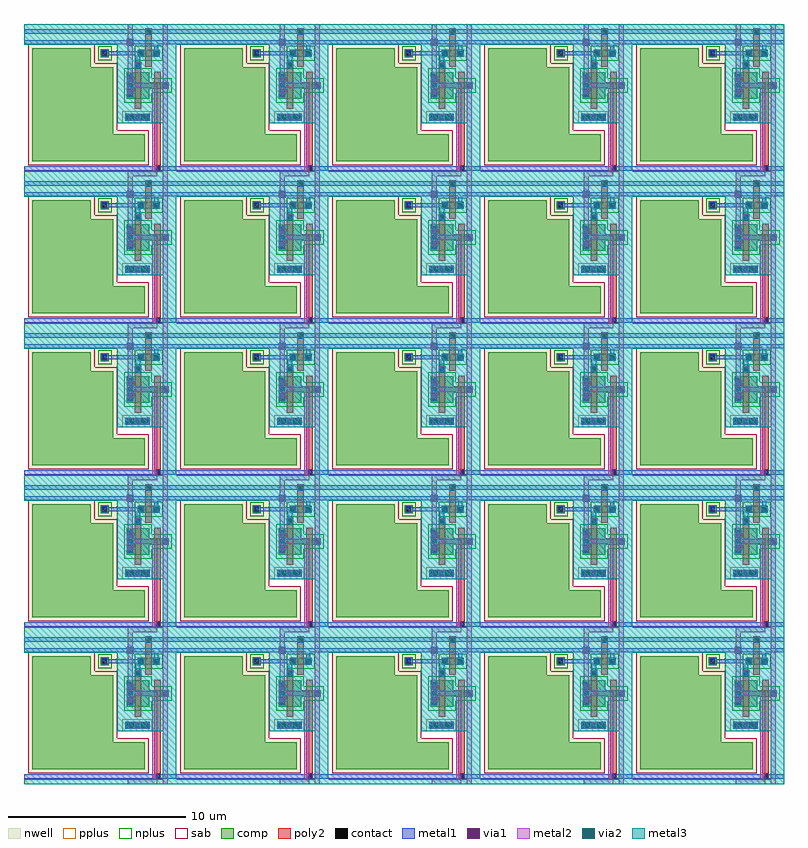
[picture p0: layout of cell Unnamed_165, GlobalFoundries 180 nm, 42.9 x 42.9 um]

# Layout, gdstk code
from math import pi, radians
import gdstk
lib = gdstk.Library(unit=1e-6, precision=5e-09)
def R(c, l, rs):  # rectangles x0, y0, x1, y1
    for r in rs: c.add(gdstk.rectangle(r[:2], r[2:], *l))
def A(c, l, x, y, w, h, nx, ny, dx, dy):  # array of equal rectangles
    R(c, l, [(x+i*dx, y+j*dy, x+i*dx+w, y+j*dy+h) for i in range(nx) for j in range(ny)])
def P(c, l, *ps):  # polygons
    for p in ps: c.add(gdstk.Polygon(p, *l))
nwell = (21, 0)
comp = (22, 0)
poly2 = (30, 0)
pplus = (31, 0)
nplus = (32, 0)
contact = (33, 0)
metal1 = (34, 0)
via1 = (35, 0)
metal2 = (36, 0)
via2 = (38, 0)
metal3 = (42, 0)
sab = (49, 0)

unnamed_149 = lib.new_cell('Unnamed_149')

unnamed_140 = lib.new_cell('Unnamed_140')
P(unnamed_140, sab, [(0,-1.815),(0,5),(3.74,5),(3.74,3.93),(5,3.93),(5,0.145),(6.8,0.145),(6.8,-1.815)])

rectangle_gdsfactorypcom = lib.new_cell('rectangle_gdsfactorypcomponentspshapesprectangle_S0p45__e99fa449')

unnamed_133 = lib.new_cell('Unnamed_133')
unnamed_133.add(gdstk.Reference(rectangle_gdsfactorypcom, (4.09,4.28)))

c_rectangle_gdsfactorypcom = lib.new_cell('rectangle_gdsfactorypcomponentspshapesprectangle_S6p795_b4fe4650')

c_rectangle_gdsfactorypcom_ = lib.new_cell('rectangle_gdsfactorypcomponentspshapesprectangle_S0p28__a85e72dc')
R(c_rectangle_gdsfactorypcom_, metal2, [(0,0,0.28,0.28)])

unnamed_132 = lib.new_cell('Unnamed_132')
A(unnamed_132, contact, 5.54, 0.785, 0.22, 0.22, 3, 1, 0.5, 0)
A(unnamed_132, contact, 5.635, 2.08, 0.22, 0.22, 1, 3, 0, 0.5)
R(unnamed_132, contact, [(7.185,-2.105,7.405,-1.885), (7.625,2.58,7.845,2.8), (6.075,3.73,6.295,3.95), (4.205,4.395,4.425,4.615), (6.235,4.395,6.455,4.615), (7.115,4.395,7.335,4.615), (6.675,5.615,6.895,5.835)])

c_rectangle_gdsfactorypcom__ = lib.new_cell('rectangle_gdsfactorypcomponentspshapesprectangle_S0p28__d1f8f1a6')
R(c_rectangle_gdsfactorypcom__, metal2, [(0,0,0.28,0.28)])

c_rectangle_gdsfactorypcom___ = lib.new_cell('rectangle_gdsfactorypcomponentspshapesprectangle_S0p28__9ac183a0')
R(c_rectangle_gdsfactorypcom___, metal2, [(0,0,0.28,0.28)])

c_rectangle_gdsfactorypcom____ = lib.new_cell('rectangle_gdsfactorypcomponentspshapesprectangle_S0p28__faefb277')
R(c_rectangle_gdsfactorypcom____, metal2, [(0,0,0.28,0.28)])

c_rectangle_gdsfactorypcom_____ = lib.new_cell('rectangle_gdsfactorypcomponentspshapesprectangle_S0p77__680ec764')
R(c_rectangle_gdsfactorypcom_____, nplus, [(0,0,0.77,0.77)])

c_rectangle_gdsfactorypcom______ = lib.new_cell('rectangle_gdsfactorypcomponentspshapesprectangle_S0p339_cd6cde29')
R(c_rectangle_gdsfactorypcom______, metal1, [(0,0,0.34,0.34)])

c_rectangle_gdsfactorypcom_______ = lib.new_cell('rectangle_gdsfactorypcomponentspshapesprectangle_S0p22__bfea7709')

via_generator_xr0_0p36_y = lib.new_cell('via_generator_XR0_0p36_YR0_0p36_VS0p22_0p22_VLcontact_V_b31f4566')
via_generator_xr0_0p36_y.add(gdstk.Reference(c_rectangle_gdsfactorypcom_______, (0.07,0.07)))

via_stack_xr0_0p36_yr0_0 = lib.new_cell('via_stack_XR0_0p36_YR0_0p36_ML1_CS0p22_0p22_CE0p07_ME0p_7e0b3caa')
via_stack_xr0_0p36_yr0_0.add(gdstk.Reference(c_rectangle_gdsfactorypcom______, (0.01,0.01)))
via_stack_xr0_0p36_yr0_0.add(gdstk.Reference(via_generator_xr0_0p36_y, (0,0)))

nwell_psub_photodiode_w5 = lib.new_cell('nwell_psub_photodiode_W5_NCDFTON0p11_NCAOFL0p2$1')
nwell_psub_photodiode_w5.add(gdstk.Reference(c_rectangle_gdsfactorypcom_____, (3.93,4.12)))
nwell_psub_photodiode_w5.add(gdstk.Reference(via_stack_xr0_0p36_yr0_0, (4.135,4.325)))

unnamed_150 = lib.new_cell('Unnamed_150')
R(unnamed_150, comp, [(5.465,0.71,6.835,1.08), (4.09,4.28,4.54,4.73), (6.16,4.32,7.41,4.69)])
P(unnamed_150, comp, [(0.22,-1.595),(0.22,4.775),(3.52,4.775),(3.52,3.71),(4.78,3.71),(4.78,-0.075),(6.57,-0.075),(6.57,-1.595)],
  [(5.56,1.94),(5.56,3.44),(6.81,3.44),(6.81,2.875),(7.92,2.875),(7.92,2.505),(6.81,2.505),(6.81,1.94)])

c_rectangle_gdsfactorypcom________ = lib.new_cell('rectangle_gdsfactorypcomponentspshapesprectangle_S2p425_1f331aac')

c_rectangle_gdsfactorypcom_________ = lib.new_cell('rectangle_gdsfactorypcomponentspshapesprectangle_S0p26__7b184afd')
R(c_rectangle_gdsfactorypcom_________, via2, [(0,0,0.26,0.26)])

via_generator_xr5p399999 = lib.new_cell('via_generator_XR5p3999999999999995_6p9_YR0p695000000000_0310d9f9')
r = gdstk.Reference(c_rectangle_gdsfactorypcom_________, (5.71,0.765)); r.repetition = gdstk.Repetition(2, 1, v1=(0.62,0), v2=(0,0)); via_generator_xr5p399999.add(r)

c_rectangle_gdsfactorypcom__________ = lib.new_cell('rectangle_gdsfactorypcomponentspshapesprectangle_S0p999_37d89e3a')
R(c_rectangle_gdsfactorypcom__________, metal2, [(0,0,1,0.38)])

c_rectangle_gdsfactorypcom___________ = lib.new_cell('rectangle_gdsfactorypcomponentspshapesprectangle_S0p26__ec28a1d9')
R(c_rectangle_gdsfactorypcom___________, via1, [(0,0,0.26,0.26)])

via_generator_xr5p46_6p8 = lib.new_cell('via_generator_XR5p46_6p84_YR0p8250000000000001_1p205_VS_eda12c5f')
r = gdstk.Reference(c_rectangle_gdsfactorypcom___________, (5.71,0.885)); r.repetition = gdstk.Repetition(2, 1, v1=(0.62,0), v2=(0,0)); via_generator_xr5p46_6p8.add(r)

c_rectangle_gdsfactorypcom____________ = lib.new_cell('rectangle_gdsfactorypcomponentspshapesprectangle_S1p379_3935631d')
R(c_rectangle_gdsfactorypcom____________, metal1, [(0,0,1.38,0.38)])

c_via_generator_xr5p399999 = lib.new_cell('via_generator_XR5p3999999999999995_6p9_YR0p815000000000_59159aae')
r = gdstk.Reference(c_rectangle_gdsfactorypcom_______, (5.54,0.905)); r.repetition = gdstk.Repetition(3, 1, v1=(0.5,0), v2=(0,0)); c_via_generator_xr5p399999.add(r)

via_stack_xr5p3999999999 = lib.new_cell('via_stack_XR5p3999999999999995_6p9_YR0p8150000000000001_85f95218')
via_stack_xr5p3999999999.add(gdstk.Reference(c_rectangle_gdsfactorypcom__________, (5.65,0.825)))
via_stack_xr5p3999999999.add(gdstk.Reference(via_generator_xr5p46_6p8, (0,0)))
via_stack_xr5p3999999999.add(gdstk.Reference(c_rectangle_gdsfactorypcom____________, (5.46,0.825)))
via_stack_xr5p3999999999.add(gdstk.Reference(c_via_generator_xr5p399999, (0,0)))

c_rectangle_gdsfactorypcom_____________ = lib.new_cell('rectangle_gdsfactorypcomponentspshapesprectangle_S1p37__3ba85179')

c_rectangle_gdsfactorypcom______________ = lib.new_cell('rectangle_gdsfactorypcomponentspshapesprectangle_S1p69__2c6959d6')
R(c_rectangle_gdsfactorypcom______________, pplus, [(0,0,1.69,0.69)])

body_contact_sfssource_f = lib.new_cell('body_contact_SFSsource_follower_nfet')
body_contact_sfssource_f.add(gdstk.Reference(via_generator_xr5p399999, (0,0)))
body_contact_sfssource_f.add(gdstk.Reference(via_stack_xr5p3999999999, (0,-0.12)))
body_contact_sfssource_f.add(gdstk.Reference(c_rectangle_gdsfactorypcom_____________, (5.465,0.71)))
body_contact_sfssource_f.add(gdstk.Reference(c_rectangle_gdsfactorypcom______________, (5.305,0.55)))

via_generator_xr0_0p22_y = lib.new_cell('via_generator_XR0_0p22_YR0_0p22_VS0p22_0p22_VLcontact_V_890d8fa1')
via_generator_xr0_0p22_y.add(gdstk.Reference(c_rectangle_gdsfactorypcom_______, (0,0)))

via_stack_xr0_0p22_yr0_0 = lib.new_cell('via_stack_XR0_0p22_YR0_0p22_ML1_CS0p22_0p22_CE0p07_ME0p_3bb45117')
via_stack_xr0_0p22_yr0_0.add(gdstk.Reference(c_rectangle_gdsfactorypcom______, (-0.06,-0.06)))
via_stack_xr0_0p22_yr0_0.add(gdstk.Reference(via_generator_xr0_0p22_y, (0,0)))

c_rectangle_gdsfactorypcom_______________ = lib.new_cell('rectangle_gdsfactorypcomponentspshapesprectangle_S0p34__e9d97d68')
R(c_rectangle_gdsfactorypcom_______________, metal1, [(0,0,0.34,0.34)])

nfet_deep_nwell_d0_p0_is = lib.new_cell('nfet_deep_nwell_D0_P0_IS1p57_1p18_IXm0p53_IYm0p58_G0p22')

c_rectangle_gdsfactorypcom________________ = lib.new_cell('rectangle_gdsfactorypcomponentspshapesprectangle_S1p57__59d8ef3a')
R(c_rectangle_gdsfactorypcom________________, nplus, [(0,0,1.57,0.83)])

c_rectangle_gdsfactorypcom_________________ = lib.new_cell('rectangle_gdsfactorypcomponentspshapesprectangle_S0p339_f4050e4b')
R(c_rectangle_gdsfactorypcom_________________, poly2, [(0,0,0.34,0.34)])

c_via_stack_xr0_0p36_yr0_0 = lib.new_cell('via_stack_XR0_0p36_YR0_0p36_ML1_CS0p22_0p22_CE0p07_ME0p_3c6a0a25')
c_via_stack_xr0_0p36_yr0_0.add(gdstk.Reference(c_rectangle_gdsfactorypcom_________________, (0.01,0.01)))
c_via_stack_xr0_0p36_yr0_0.add(gdstk.Reference(via_generator_xr0_0p36_y, (0,0)))

c_rectangle_gdsfactorypcom__________________ = lib.new_cell('rectangle_gdsfactorypcomponentspshapesprectangle_S0p360_c50b099a')
R(c_rectangle_gdsfactorypcom__________________, poly2, [(0,0,0.36,0.36)])

unnamed_27 = lib.new_cell('Unnamed_27')
unnamed_27.add(gdstk.Reference(c_via_stack_xr0_0p36_yr0_0, (0,0)))
unnamed_27.add(gdstk.Reference(c_rectangle_gdsfactorypcom__________________, (0,0)))

c_rectangle_gdsfactorypcom___________________ = lib.new_cell('rectangle_gdsfactorypcomponentspshapesprectangle_S0p36__61a6a4da')
R(c_rectangle_gdsfactorypcom___________________, poly2, [(0,0,0.36,0.81)])

c_rectangle_gdsfactorypcom____________________ = lib.new_cell('rectangle_gdsfactorypcomponentspshapesprectangle_S0p339_7cf635e5')

via_generator_xrm0p37_0_ = lib.new_cell('via_generator_XRm0p37_0_YR0_0p37_VS0p22_0p22_VLcontact__7fa67794')
via_generator_xrm0p37_0_.add(gdstk.Reference(c_rectangle_gdsfactorypcom_______, (-0.295,0.075)))

via_stack_xrm0p37_0_yr0_ = lib.new_cell('via_stack_XRm0p37_0_YR0_0p37_ML1_CS0p22_0p22_CE0p07_ME0_8a4298dd')
via_stack_xrm0p37_0_yr0_.add(gdstk.Reference(c_rectangle_gdsfactorypcom____________________, (-0.355,0.015)))
via_stack_xrm0p37_0_yr0_.add(gdstk.Reference(via_generator_xrm0p37_0_, (0,0)))

c_rectangle_gdsfactorypcom_____________________ = lib.new_cell('rectangle_gdsfactorypcomponentspshapesprectangle_S0p37__0f04a47c')

c_rectangle_gdsfactorypcom______________________ = lib.new_cell('rectangle_gdsfactorypcomponentspshapesprectangle_S0p51__6ac2f021')

unnamed_16 = lib.new_cell('Unnamed_16')
unnamed_16.add(gdstk.Reference(c_rectangle_gdsfactorypcom________________, (-0.53,-0.23)))
unnamed_16.add(gdstk.Reference(unnamed_27, (0.075,-0.58)))
unnamed_16.add(gdstk.Reference(c_rectangle_gdsfactorypcom___________________, (0.075,-0.22)))
unnamed_16.add(gdstk.Reference(via_stack_xrm0p37_0_yr0_, (0,0)))
unnamed_16.add(gdstk.Reference(via_stack_xrm0p37_0_yr0_, (0.88,0)))
r = gdstk.Reference(c_rectangle_gdsfactorypcom_____________________, (-0.37,0)); r.repetition = gdstk.Repetition(2, 1, v1=(0.88,0), v2=(0,0)); unnamed_16.add(r)
unnamed_16.add(gdstk.Reference(c_rectangle_gdsfactorypcom______________________, (0,0)))

labels_gen_lsnone_p0p255 = lib.new_cell('labels_gen_LSNone_P0p255_m0p39999999999999997_Lmetal1_l_75f557be')
labels_gen_lsnone_p0p255.add(gdstk.Label('gate', (0.255,-0.4), layer=34, texttype=10))

labels_gen_lsnone_p0p695 = lib.new_cell('labels_gen_LSNone_P0p6950000000000001_0p185_Lmetal1_lab_a4e48e06')
labels_gen_lsnone_p0p695.add(gdstk.Label('D', (0.695,0.185), layer=34, texttype=10))

labels_gen_lsnone_pm0p18 = lib.new_cell('labels_gen_LSNone_Pm0p185_0p185_Lmetal1_label_LTrue_LS_D_LVL2_I0')
labels_gen_lsnone_pm0p18.add(gdstk.Label('S', (-0.185,0.185), layer=34, texttype=10))

nfet_lg0p36_wg0p37_scc1_ = lib.new_cell('nfet_LG0p36_WG0p37_SCC1_ISL0p24_N1_G0p22_V3p3V_BNone_CB_264c81f5$1')
nfet_lg0p36_wg0p37_scc1_.add(gdstk.Reference(c_rectangle_gdsfactorypcom_______________, (-0.355,0.015)))
nfet_lg0p36_wg0p37_scc1_.add(gdstk.Reference(nfet_deep_nwell_d0_p0_is, (0,0)))
nfet_lg0p36_wg0p37_scc1_.add(gdstk.Reference(unnamed_16, (0,0)))
nfet_lg0p36_wg0p37_scc1_.add(gdstk.Reference(labels_gen_lsnone_p0p255, (0,0)))
nfet_lg0p36_wg0p37_scc1_.add(gdstk.Reference(labels_gen_lsnone_p0p695, (0,0)))
nfet_lg0p36_wg0p37_scc1_.add(gdstk.Reference(labels_gen_lsnone_pm0p18, (0,0)))

reset_transistor_psnwell = lib.new_cell('reset_transistor_PSnwell_psub_photodiode_RDFPD1')
reset_transistor_psnwell.add(gdstk.Reference(via_stack_xr0_0p22_yr0_0, (7.115,4.395)))
reset_transistor_psnwell.add(gdstk.Reference(nfet_lg0p36_wg0p37_scc1_, (6.53,4.32)))

c_rectangle_gdsfactorypcom_______________________ = lib.new_cell('rectangle_gdsfactorypcomponentspshapesprectangle_S0p38__40a80f14')
R(c_rectangle_gdsfactorypcom_______________________, metal2, [(0,0,0.38,0.38)])

via_generator_xrm0p08_0p = lib.new_cell('via_generator_XRm0p08_0p3_YRm0p08_0p3_VS0p26_0p26_VLvia_bc8e9203')
via_generator_xrm0p08_0p.add(gdstk.Reference(c_rectangle_gdsfactorypcom___________, (-0.02,-0.02)))

c_rectangle_gdsfactorypcom________________________ = lib.new_cell('rectangle_gdsfactorypcomponentspshapesprectangle_S0p38__bba3b9d7')
R(c_rectangle_gdsfactorypcom________________________, metal1, [(0,0,0.38,0.38)])

c_via_stack_xr0_0p22_yr0_0 = lib.new_cell('via_stack_XR0_0p22_YR0_0p22_ML2_CS0p22_0p22_CE0p07_ME0p_0939e351')
c_via_stack_xr0_0p22_yr0_0.add(gdstk.Reference(c_rectangle_gdsfactorypcom_______________________, (-0.08,-0.08)))
c_via_stack_xr0_0p22_yr0_0.add(gdstk.Reference(via_generator_xrm0p08_0p, (0,0)))
c_via_stack_xr0_0p22_yr0_0.add(gdstk.Reference(c_rectangle_gdsfactorypcom________________________, (-0.08,-0.08)))
c_via_stack_xr0_0p22_yr0_0.add(gdstk.Reference(via_generator_xr0_0p22_y, (0,0)))

unnamed_76 = lib.new_cell('Unnamed_76')
unnamed_76.add(gdstk.Reference(c_via_stack_xr0_0p36_yr0_0, (0,0)))
unnamed_76.add(gdstk.Reference(c_rectangle_gdsfactorypcom__________________, (0,0)))

unnamed_75 = lib.new_cell('Unnamed_75')
unnamed_75.add(gdstk.Reference(c_rectangle_gdsfactorypcom________________, (-0.53,-0.23)))
r = gdstk.Reference(unnamed_76, (0.075,-0.58)); r.repetition = gdstk.Repetition(1, 2, v1=(0,0), v2=(0,1.17)); unnamed_75.add(r)
unnamed_75.add(gdstk.Reference(c_rectangle_gdsfactorypcom___________________, (0.075,-0.22)))
unnamed_75.add(gdstk.Reference(via_stack_xrm0p37_0_yr0_, (0.88,0)))
r = gdstk.Reference(c_rectangle_gdsfactorypcom_____________________, (-0.37,0)); r.repetition = gdstk.Repetition(2, 1, v1=(0.88,0), v2=(0,0)); unnamed_75.add(r)
unnamed_75.add(gdstk.Reference(c_rectangle_gdsfactorypcom______________________, (0,0)))

c_nfet_deep_nwell_d0_p0_is = lib.new_cell('nfet_deep_nwell_D0_P0_IS1p57_1p53_IXm0p53_IYm0p58_G0p22')

c_nfet_lg0p36_wg0p37_scc1_ = lib.new_cell('nfet_LG0p36_WG0p37_SCC1_ISL0p24_N1_G0p22_V3p3V_BNone_CB_bde524e1$1')
c_nfet_lg0p36_wg0p37_scc1_.add(gdstk.Reference(unnamed_75, (0,0)))
c_nfet_lg0p36_wg0p37_scc1_.add(gdstk.Reference(labels_gen_lsnone_p0p255, (0,0)))
c_nfet_lg0p36_wg0p37_scc1_.add(gdstk.Reference(c_nfet_deep_nwell_d0_p0_is, (0,0)))
c_nfet_lg0p36_wg0p37_scc1_.add(gdstk.Reference(labels_gen_lsnone_p0p695, (0,0)))
c_nfet_lg0p36_wg0p37_scc1_.add(gdstk.Reference(labels_gen_lsnone_pm0p18, (0,0)))

row_select_sfssource_fol = lib.new_cell('row_select_SFSsource_follower_nfet')
row_select_sfssource_fol.add(gdstk.Reference(c_via_stack_xr0_0p22_yr0_0, (7.625,2.58)))
row_select_sfssource_fol.add(gdstk.Reference(c_nfet_lg0p36_wg0p37_scc1_, (7.04,2.505)))

c_rectangle_gdsfactorypcom_________________________ = lib.new_cell('rectangle_gdsfactorypcomponentspshapesprectangle_S0p36__b066f15d')
R(c_rectangle_gdsfactorypcom_________________________, poly2, [(0,0,0.36,0.36)])

poly_metal1_single_via = lib.new_cell('poly_metal1_single_via')
poly_metal1_single_via.add(gdstk.Reference(c_rectangle_gdsfactorypcom_________________________, (-0.07,-0.07)))
poly_metal1_single_via.add(gdstk.Reference(via_stack_xr0_0p22_yr0_0, (0,0)))

c_rectangle_gdsfactorypcom__________________________ = lib.new_cell('rectangle_gdsfactorypcomponentspshapesprectangle_S8p58__fdbd9213')
R(c_rectangle_gdsfactorypcom__________________________, metal1, [(0,0,8.58,0.25)])

row_connector_s8p58_0p25 = lib.new_cell('row_connector_S8p58_0p25_PNvia_port1_XL7p035_O270_Lmeta_bae97963')
row_connector_s8p58_0p25.add(gdstk.Reference(poly_metal1_single_via, (6.925,0.015)))
row_connector_s8p58_0p25.add(gdstk.Reference(c_rectangle_gdsfactorypcom__________________________, (0,0)))

metal1_to_metal2_via = lib.new_cell('metal1_to_metal2_via')
metal1_to_metal2_via.add(gdstk.Reference(c_rectangle_gdsfactorypcom_______________________, (-0.08,-0.08)))
metal1_to_metal2_via.add(gdstk.Reference(via_generator_xrm0p08_0p, (0,0)))
metal1_to_metal2_via.add(gdstk.Reference(c_rectangle_gdsfactorypcom________________________, (-0.08,-0.08)))
metal1_to_metal2_via.add(gdstk.Reference(via_generator_xr0_0p22_y, (0,0)))

c_row_connector_s8p58_0p25 = lib.new_cell('row_connector_S8p58_0p25_PNvia_port1_XL5p995_O270_Lmeta_6ac46567')
c_row_connector_s8p58_0p25.add(gdstk.Reference(metal1_to_metal2_via, (5.885,0.015)))
c_row_connector_s8p58_0p25.add(gdstk.Reference(c_rectangle_gdsfactorypcom__________________________, (0,0)))

c_rectangle_gdsfactorypcom___________________________ = lib.new_cell('rectangle_gdsfactorypcomponentspshapesprectangle_S0p38__4fc03190')
R(c_rectangle_gdsfactorypcom___________________________, metal2, [(0,0,0.38,1)])

via_generator_xrm0p06_0p = lib.new_cell('via_generator_XRm0p06_0p28_YR0p08_1p42_VS0p26_0p26_VLvi_ab057d3d')
r = gdstk.Reference(c_rectangle_gdsfactorypcom___________, (-0.02,0.31)); r.repetition = gdstk.Repetition(1, 2, v1=(0,0), v2=(0,0.62)); via_generator_xrm0p06_0p.add(r)

c_rectangle_gdsfactorypcom____________________________ = lib.new_cell('rectangle_gdsfactorypcomponentspshapesprectangle_S0p339_b272fb98')
R(c_rectangle_gdsfactorypcom____________________________, metal1, [(0,0,0.34,1.34)])

c_via_generator_xr0_0p22_y = lib.new_cell('via_generator_XR0_0p22_YR0_1p5_VS0p22_0p22_VLcontact_VE_3e14a116')
r = gdstk.Reference(c_rectangle_gdsfactorypcom_______, (0,0.14)); r.repetition = gdstk.Repetition(1, 3, v1=(0,0), v2=(0,0.5)); c_via_generator_xr0_0p22_y.add(r)

via_stack_xr0_0p22_yr0_1 = lib.new_cell('via_stack_XR0_0p22_YR0_1p5_ML2_CS0p22_0p22_CE0p07_ME0p0_8b482710')
via_stack_xr0_0p22_yr0_1.add(gdstk.Reference(c_rectangle_gdsfactorypcom___________________________, (-0.08,0.25)))
via_stack_xr0_0p22_yr0_1.add(gdstk.Reference(via_generator_xrm0p06_0p, (0,0)))
via_stack_xr0_0p22_yr0_1.add(gdstk.Reference(c_rectangle_gdsfactorypcom____________________________, (-0.06,0.08)))
via_stack_xr0_0p22_yr0_1.add(gdstk.Reference(c_via_generator_xr0_0p22_y, (0,0)))

c_nfet_deep_nwell_d0_p0_is_ = lib.new_cell('nfet_deep_nwell_D0_P0_IS1p57_2p66_IXm0p53_IYm0p58_G0p22')

c_rectangle_gdsfactorypcom_____________________________ = lib.new_cell('rectangle_gdsfactorypcomponentspshapesprectangle_S1p57__f66d7d13')
R(c_rectangle_gdsfactorypcom_____________________________, nplus, [(0,0,1.57,1.96)])

unnamed_57 = lib.new_cell('Unnamed_57')
unnamed_57.add(gdstk.Reference(c_via_stack_xr0_0p36_yr0_0, (0,0)))
unnamed_57.add(gdstk.Reference(c_rectangle_gdsfactorypcom__________________, (0,0)))

c_rectangle_gdsfactorypcom______________________________ = lib.new_cell('rectangle_gdsfactorypcomponentspshapesprectangle_S0p36__de89048d')
R(c_rectangle_gdsfactorypcom______________________________, poly2, [(0,0,0.36,1.94)])

c_rectangle_gdsfactorypcom_______________________________ = lib.new_cell('rectangle_gdsfactorypcomponentspshapesprectangle_S0p37__24ce2eae')

c_rectangle_gdsfactorypcom________________________________ = lib.new_cell('rectangle_gdsfactorypcomponentspshapesprectangle_S0p339_0a7895ac')

c_via_generator_xrm0p37_0_ = lib.new_cell('via_generator_XRm0p37_0_YR0_1p5_VS0p22_0p22_VLcontact_V_b03b4ef3')
r = gdstk.Reference(c_rectangle_gdsfactorypcom_______, (-0.295,0.14)); r.repetition = gdstk.Repetition(1, 3, v1=(0,0), v2=(0,0.5)); c_via_generator_xrm0p37_0_.add(r)

c_via_stack_xrm0p37_0_yr0_ = lib.new_cell('via_stack_XRm0p37_0_YR0_1p5_ML1_CS0p22_0p22_CE0p07_ME0p_ee6b3d71')
c_via_stack_xrm0p37_0_yr0_.add(gdstk.Reference(c_rectangle_gdsfactorypcom________________________________, (-0.355,0.08)))
c_via_stack_xrm0p37_0_yr0_.add(gdstk.Reference(c_via_generator_xrm0p37_0_, (0,0)))

c_rectangle_gdsfactorypcom_________________________________ = lib.new_cell('rectangle_gdsfactorypcomponentspshapesprectangle_S0p51__cfee63cf')

unnamed_46 = lib.new_cell('Unnamed_46')
unnamed_46.add(gdstk.Reference(c_rectangle_gdsfactorypcom_____________________________, (-0.53,-0.23)))
r = gdstk.Reference(unnamed_57, (0.075,-0.58)); r.repetition = gdstk.Repetition(1, 2, v1=(0,0), v2=(0,2.3)); unnamed_46.add(r)
unnamed_46.add(gdstk.Reference(c_rectangle_gdsfactorypcom______________________________, (0.075,-0.22)))
r = gdstk.Reference(c_rectangle_gdsfactorypcom_______________________________, (-0.37,0)); r.repetition = gdstk.Repetition(2, 1, v1=(0.88,0), v2=(0,0)); unnamed_46.add(r)
unnamed_46.add(gdstk.Reference(c_via_stack_xrm0p37_0_yr0_, (0.88,0)))
unnamed_46.add(gdstk.Reference(c_rectangle_gdsfactorypcom_________________________________, (0,0)))

c_labels_gen_lsnone_p0p695 = lib.new_cell('labels_gen_LSNone_P0p6950000000000001_0p75_Lmetal1_labe_cb98fc20')
c_labels_gen_lsnone_p0p695.add(gdstk.Label('S', (0.695,0.75), layer=34, texttype=10))

c_labels_gen_lsnone_pm0p18 = lib.new_cell('labels_gen_LSNone_Pm0p185_0p75_Lmetal1_label_LTrue_LD_S_LVL2_I0')
c_labels_gen_lsnone_pm0p18.add(gdstk.Label('D', (-0.185,0.75), layer=34, texttype=10))

nfet_lg0p36_wg1p5_scc1_i = lib.new_cell('nfet_LG0p36_WG1p5_SCC1_ISL0p24_N1_G0p22_V3p3V_BNone_CBF_c1328283$1')
nfet_lg0p36_wg1p5_scc1_i.add(gdstk.Reference(c_rectangle_gdsfactorypcom_______________, (0.085,-0.57)))
nfet_lg0p36_wg1p5_scc1_i.add(gdstk.Reference(c_nfet_deep_nwell_d0_p0_is_, (0,0)))
nfet_lg0p36_wg1p5_scc1_i.add(gdstk.Reference(unnamed_46, (0,0)))
nfet_lg0p36_wg1p5_scc1_i.add(gdstk.Reference(labels_gen_lsnone_p0p255, (0,0)))
nfet_lg0p36_wg1p5_scc1_i.add(gdstk.Reference(c_labels_gen_lsnone_p0p695, (0,0)))
nfet_lg0p36_wg1p5_scc1_i.add(gdstk.Reference(c_labels_gen_lsnone_pm0p18, (0,0)))

source_follower_nfet_psn = lib.new_cell('source_follower_nfet_PSnwell_psub_photodiode_RTSreset_t_78895cd4')
source_follower_nfet_psn.add(gdstk.Reference(via_stack_xr0_0p22_yr0_1, (5.635,1.94)))
source_follower_nfet_psn.add(gdstk.Reference(nfet_lg0p36_wg1p5_scc1_i, (6.44,3.44), rotation=pi))

c_rectangle_gdsfactorypcom__________________________________ = lib.new_cell('rectangle_gdsfactorypcomponentspshapesprectangle_S0p28__0ff5c300')
R(c_rectangle_gdsfactorypcom__________________________________, metal2, [(0,0,0.28,8.58)])

c_rectangle_gdsfactorypcom___________________________________ = lib.new_cell('rectangle_gdsfactorypcomponentspshapesprectangle_S0p735_32e62170')
R(c_rectangle_gdsfactorypcom___________________________________, metal3, [(0,0,0.74,8.58)])

unnamed_129 = lib.new_cell('Unnamed_129')
P(unnamed_129, nwell, [(0,-1.815),(0,5),(5,5),(5,0.145),(6.8,0.145),(6.8,-1.815)])

c_rectangle_gdsfactorypcom____________________________________ = lib.new_cell('rectangle_gdsfactorypcomponentspshapesprectangle_S3p33__6fa70521')
R(c_rectangle_gdsfactorypcom____________________________________, metal3, [(0,0.005,3.33,5.605)])

c_rectangle_gdsfactorypcom_____________________________________ = lib.new_cell('rectangle_gdsfactorypcomponentspshapesprectangle_S8p58__b6a50191')
R(c_rectangle_gdsfactorypcom_____________________________________, metal3, [(-4.29,-0.58,4.29,0.58)])

c_row_connector_s8p58_0p25_ = lib.new_cell('row_connector_S8p58_0p25_PNvia_port1_XL7p545_O90_Lmetal_504f7361')
c_row_connector_s8p58_0p25_.add(gdstk.Reference(poly_metal1_single_via, (7.435,0.015)))
c_row_connector_s8p58_0p25_.add(gdstk.Reference(c_rectangle_gdsfactorypcom__________________________, (0,0)))

c_rectangle_gdsfactorypcom______________________________________ = lib.new_cell('rectangle_gdsfactorypcomponentspshapesprectangle_S8p58__071b2db3')
R(c_rectangle_gdsfactorypcom______________________________________, metal3, [(0,0,8.58,0.28)])

active_pixel_3t_dfalse_p = lib.new_cell('active_pixel_3t_DFalse_PSnwell_psub_photodiode_RTSreset_7ffc4354')
R(active_pixel_3t_dfalse_p, poly2, [(7.115,-1.995,7.475,2.105), (6.605,3.92,6.965,5.725)])
R(active_pixel_3t_dfalse_p, metal1, [(4.315,4.39,6.345,4.62)])
P(active_pixel_3t_dfalse_p, metal1, [(7.11,4.505),(7.11,5.01),(4.04,5.01),(4.04,5.24),(7.34,5.24),(7.34,4.505)],
  [(6.07,3.84),(6.07,4.62),(6.345,4.62),(6.345,4.39),(6.3,4.39),(6.3,3.84)])
R(active_pixel_3t_dfalse_p, metal2, [(5.885,-2.425,6.985,-2.145), (6.985,-2.145,7.265,2.55), (5.745,2.55,6.985,2.83)])
P(active_pixel_3t_dfalse_p, metal2, [(5.605,2.41),(5.605,5.875),(5.885,5.875),(5.885,2.41),(5.605,2.41),(5.605,2.69),(5.885,2.69),(5.885,2.41)],
  [(5.605,2.41),(5.605,5.125),(5.885,5.125),(5.885,2.41),(5.605,2.41),(5.605,2.69),(5.885,2.69),(5.885,2.41)])
active_pixel_3t_dfalse_p.add(gdstk.Reference(unnamed_149, (0,0)))
active_pixel_3t_dfalse_p.add(gdstk.Reference(unnamed_140, (0,0)))
active_pixel_3t_dfalse_p.add(gdstk.Reference(unnamed_133, (0,0)))
active_pixel_3t_dfalse_p.add(gdstk.Reference(c_rectangle_gdsfactorypcom, (0,-1.82)))
active_pixel_3t_dfalse_p.add(gdstk.Reference(c_rectangle_gdsfactorypcom_, (6.985,2.55)))
active_pixel_3t_dfalse_p.add(gdstk.Reference(unnamed_132, (0,0)))
active_pixel_3t_dfalse_p.add(gdstk.Reference(c_rectangle_gdsfactorypcom__, (6.985,-2.425)))
active_pixel_3t_dfalse_p.add(gdstk.Reference(c_rectangle_gdsfactorypcom___, (5.605,-2.425)))
active_pixel_3t_dfalse_p.add(gdstk.Reference(c_rectangle_gdsfactorypcom____, (5.605,5.875)))
active_pixel_3t_dfalse_p.add(gdstk.Reference(nwell_psub_photodiode_w5, (0,0)))
active_pixel_3t_dfalse_p.add(gdstk.Reference(unnamed_150, (0,0)))
active_pixel_3t_dfalse_p.add(gdstk.Reference(c_rectangle_gdsfactorypcom________, (4.15,-1.6)))
active_pixel_3t_dfalse_p.add(gdstk.Reference(body_contact_sfssource_f, (0,0)))
active_pixel_3t_dfalse_p.add(gdstk.Reference(reset_transistor_psnwell, (0,0)))
active_pixel_3t_dfalse_p.add(gdstk.Reference(row_select_sfssource_fol, (0,0)))
active_pixel_3t_dfalse_p.add(gdstk.Reference(row_connector_s8p58_0p25, (-0.25,5.6)))
active_pixel_3t_dfalse_p.add(gdstk.Reference(c_row_connector_s8p58_0p25, (-0.25,5)))
active_pixel_3t_dfalse_p.add(gdstk.Reference(source_follower_nfet_psn, (0,0)))
active_pixel_3t_dfalse_p.add(gdstk.Reference(c_rectangle_gdsfactorypcom__________________________________, (7.595,-2.425)))
active_pixel_3t_dfalse_p.add(gdstk.Reference(c_rectangle_gdsfactorypcom___________________________________, (7.59,-2.425)))
active_pixel_3t_dfalse_p.add(gdstk.Reference(unnamed_129, (0,0)))
active_pixel_3t_dfalse_p.add(gdstk.Reference(c_rectangle_gdsfactorypcom____________________________________, (5,0.55)))
active_pixel_3t_dfalse_p.add(gdstk.Reference(c_rectangle_gdsfactorypcom_____________________________________, (4.04,5.575)))
active_pixel_3t_dfalse_p.add(gdstk.Reference(c_row_connector_s8p58_0p25_, (-0.25,-2.12)))
active_pixel_3t_dfalse_p.add(gdstk.Reference(c_rectangle_gdsfactorypcom______________________________________, (-0.25,-2.425)))

unnamed_165 = lib.new_cell('Unnamed_165')
r = gdstk.Reference(active_pixel_3t_dfalse_p, (0,0)); r.repetition = gdstk.Repetition(5, 5, v1=(8.58,0), v2=(0,8.58)); unnamed_165.add(r)

lib.write_gds('Unnamed_165.gds')
